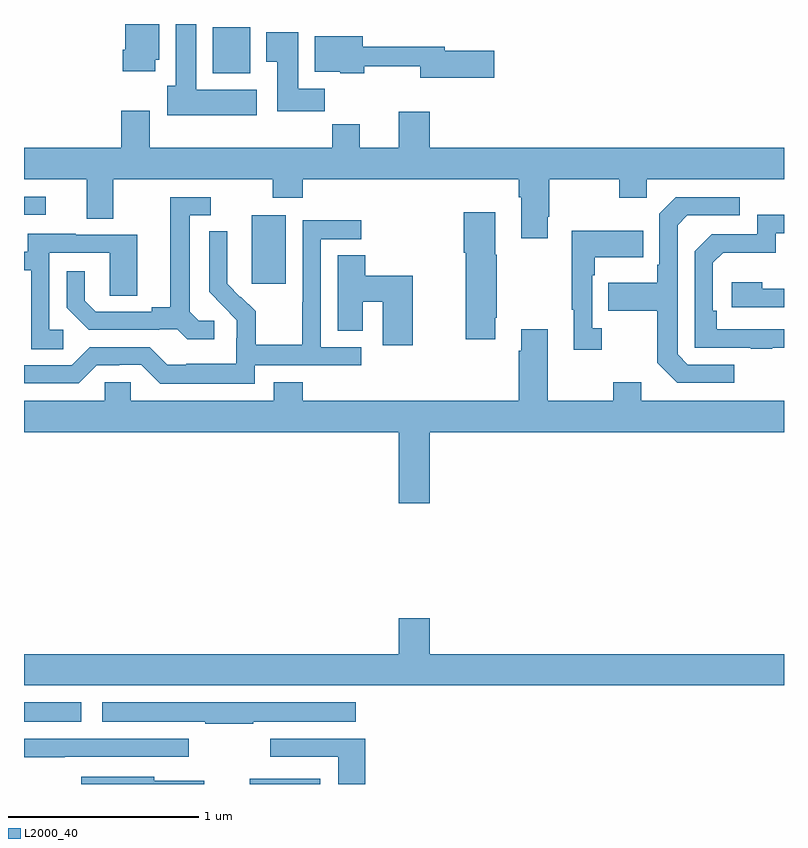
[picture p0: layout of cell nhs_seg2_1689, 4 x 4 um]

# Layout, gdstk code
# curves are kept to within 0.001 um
import gdstk
lib = gdstk.Library(unit=1e-6, precision=1e-09)
def R(c, l, rs):  # rectangles x0, y0, x1, y1
    for r in rs: c.add(gdstk.rectangle(r[:2], r[2:], *l))
def P(c, l, *ps):  # polygons
    for p in ps: c.add(gdstk.Polygon(p, *l))
L2000_40 = (2000, 40)

nhs_seg2_1689 = lib.new_cell('nhs_seg2_1689')
R(nhs_seg2_1689, L2000_40, [(200.189,629.8,200.56,629.827), (199,630.128,199.3,630.229), (200.198,632.433,200.377,632.794), (199,632.796,199.114,632.892), (199.994,633.542,200.191,633.784)])
P(nhs_seg2_1689, L2000_40, [(200.224,633.454),(199.906,633.454),(199.906,633.8),(199.799,633.8),(199.799,633.474),(199.754,633.474),(199.754,633.32),(200.224,633.32)],
  [(199.69,633.612),(199.711,633.612),(199.711,633.8),(199.532,633.8),(199.532,633.664),(199.52,633.664),(199.52,633.552),(199.69,633.552)],
  [(200.582,633.46),(200.443,633.46),(200.443,633.757),(200.276,633.757),(200.276,633.601),(200.333,633.601),(200.333,633.342),(200.582,633.342)],
  [(201.475,633.659),(201.214,633.659),(201.214,633.68),(200.782,633.68),(200.782,633.736),(200.531,633.736),(200.531,633.548),(200.664,633.548),(200.664,633.542),(200.79,633.542),(200.79,633.577),(201.086,633.577),(201.086,633.517),(201.475,633.517)],
  [(201.757,632.785),(201.765,632.785),(201.765,632.984),(202.132,632.984),(202.132,632.885),(202.278,632.885),(202.278,632.984),(203,632.984),(203,633.148),(201.136,633.148),(201.136,633.337),(200.972,633.337),(200.972,633.148),(200.767,633.148),(200.767,633.272),(200.623,633.272),(200.623,633.148),(199.663,633.148),(199.663,633.343),(199.511,633.343),(199.511,633.148),(199,633.148),(199,632.984),(199.331,632.984),(199.331,632.776),(199.471,632.776),(199.471,632.984),(200.308,632.984),(200.308,632.885),(200.468,632.885),(200.468,632.984),(201.605,632.984),(201.605,632.888),(201.617,632.888),(201.617,632.673),(201.757,632.673)],
  [(202.738,632.007),(202.494,632.007),(202.44,632.061),(202.44,632.742),(202.491,632.793),(202.768,632.793),(202.768,632.889),(202.431,632.889),(202.344,632.802),(202.344,632.533),(202.332,632.533),(202.332,632.437),(202.075,632.437),(202.075,632.29),(202.332,632.29),(202.332,632.017),(202.437,631.911),(202.738,631.911)],
  [(200.002,632.238),(199.92,632.238),(199.873,632.285),(199.873,632.793),(199.984,632.793),(199.984,632.889),(199.769,632.889),(199.769,632.309),(199.673,632.309),(199.673,632.286),(199.378,632.286),(199.321,632.343),(199.321,632.5),(199.224,632.5),(199.224,632.306),(199.34,632.19),(199.712,632.19),(199.712,632.193),(199.806,632.193),(199.858,632.141),(200.002,632.141)],
  [(201.481,632.254),(201.489,632.254),(201.489,632.585),(201.481,632.585),(201.481,632.809),(201.314,632.809),(201.314,632.596),(201.326,632.596),(201.326,632.142),(201.481,632.142)],
  [(202.937,632.097),(203,632.097),(203,632.193),(202.646,632.193),(202.646,632.29),(202.626,632.29),(202.626,632.544),(202.679,632.597),(202.956,632.597),(202.956,632.7),(203,632.7),(203,632.796),(202.86,632.796),(202.86,632.694),(202.62,632.694),(202.53,632.604),(202.53,632.097),(202.825,632.097),(202.825,632.092),(202.937,632.092)],
  [(200.214,632.004),(200.776,632.004),(200.776,632.1),(200.562,632.1),(200.562,632.667),(200.776,632.667),(200.776,632.766),(200.466,632.766),(200.466,632.336),(200.464,632.336),(200.464,632.113),(200.219,632.113),(200.219,632.287),(200.142,632.364),(200.139,632.361),(200.069,632.432),(200.07,632.708),(199.974,632.708),(199.974,632.39),(200.12,632.242),(200.12,632.145),(200.118,632.145),(200.118,632.011),(199.855,632.011),(199.855,632.007),(199.755,632.007),(199.662,632.1),(199.347,632.1),(199.251,632.004),(199,632.004),(199,631.908),(199.287,631.908),(199.383,632.004),(199.502,632.004),(199.502,632.007),(199.617,632.007),(199.717,631.907),(200.214,631.907)],
  [(202.042,632.198),(201.99,632.198),(201.99,632.477),(202.003,632.477),(202.003,632.573),(202.259,632.573),(202.259,632.713),(201.882,632.713),(201.882,632.297),(201.893,632.297),(201.893,632.085),(202.042,632.085)],
  [(199.207,632.19),(199.134,632.19),(199.134,632.595),(199.452,632.595),(199.452,632.371),(199.597,632.371),(199.597,632.691),(199.273,632.691),(199.273,632.695),(199.019,632.695),(199.019,632.601),(199,632.601),(199,632.505),(199.038,632.505),(199.038,632.089),(199.207,632.089)],
  [(201.046,632.474),(200.795,632.474),(200.795,632.582),(200.651,632.582),(200.651,632.185),(200.782,632.185),(200.782,632.339),(200.888,632.339),(200.888,632.109),(201.046,632.109)],
  [(203,632.406),(202.886,632.406),(202.886,632.44),(202.725,632.44),(202.725,632.31),(203,632.31)],
  [(201.136,631.652),(203,631.652),(203,631.816),(202.249,631.816),(202.249,631.915),(202.102,631.915),(202.102,631.816),(201.757,631.816),(201.757,632.194),(201.617,632.194),(201.617,632.081),(201.605,632.081),(201.605,631.816),(200.468,631.816),(200.468,631.915),(200.315,631.915),(200.315,631.816),(199.563,631.816),(199.563,631.914),(199.425,631.914),(199.425,631.816),(199,631.816),(199,631.652),(200.972,631.652),(200.972,631.278),(201.136,631.278)],
  [(203,630.484),(201.136,630.484),(201.136,630.673),(200.972,630.673),(200.972,630.484),(199,630.484),(199,630.32),(203,630.32)],
  [(200.207,630.128),(200.746,630.128),(200.746,630.229),(199.413,630.229),(199.413,630.128),(199.954,630.128),(199.954,630.118),(200.207,630.118)],
  [(199.214,629.943),(199.867,629.943),(199.867,630.039),(199,630.039),(199,629.942),(199.214,629.942)],
  [(200.795,630.039),(200.295,630.039),(200.295,629.943),(200.655,629.943),(200.655,629.8),(200.795,629.8)],
  [(199.948,629.818),(199.686,629.818),(199.686,629.839),(199.302,629.839),(199.302,629.8),(199.948,629.8)])

lib.write_gds('nhs_seg2_1689.gds')
